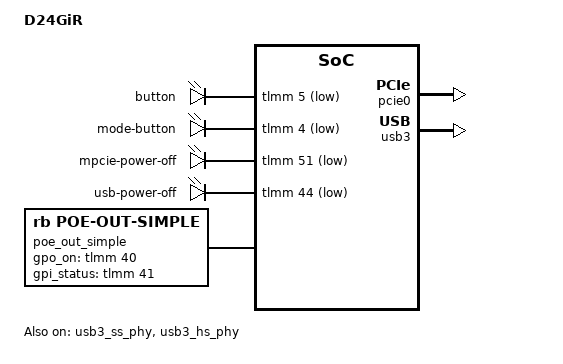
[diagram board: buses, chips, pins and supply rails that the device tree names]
/dts-v1/;
#define BIG_DK
#define NAND
#include "ipq40xx.dtsi"

/ {
	model = "D24GiR";

	leds {
		compatible = "leds-rb";
		system-led {
			red {
				gpios = <&tlmm 1 GPIO_ACTIVE_HIGH>;
			};
			green {
				gpios = <&tlmm 3 GPIO_ACTIVE_HIGH>;
			};
			blue {
				gpios = <&tlmm 0 GPIO_ACTIVE_HIGH>;
			};
		};
		button {
			gpios = <&tlmm 5 GPIO_ACTIVE_LOW>;
			default-state = "input";
		};
		mode-button {
			gpios = <&tlmm 4 GPIO_ACTIVE_LOW>;
			default-state = "input";
		};
		mpcie-power-off {
			gpios = <&tlmm 51 GPIO_ACTIVE_LOW>;
		};
		usb-power-off {
			gpios = <&tlmm 44 GPIO_ACTIVE_LOW>;
		};
	};
	poe_out_simple: poe-out-simple {
		compatible = "rb,poe-out-simple";
		eth_port = <1>;
		gpo_on = <&tlmm 40 GPIO_ACTIVE_HIGH>;
		gpi_status = <&tlmm 41 GPIO_ACTIVE_HIGH>;
		status = "ok";
	};
	wlan-data {
		compatible = "wlan-data-rb";
		wlan1 {
			pci-domain-nr = <0>;
			pci-bus-nr = <1>;
			caldata-instance = <1>;
		};
	};
};

&tlmm {
	edma_pins: ema_pinmux {
		mux {
			pins = "gpio6", "gpio7";
			function = "mdio";
			bias-disable;
		};
	};
};

&edma {
	port_map = <4 3 (-1)>;
	pinctrl-0 = <&edma_pins>;
	pinctrl-names = "default";
};

&pcie0 {
	persts-gpio = <&tlmm 38 GPIO_ACTIVE_LOW>, /* PCIe switch IC */
			<&tlmm 48 GPIO_ACTIVE_HIGH>; /* cascade */
	status = "ok";
};

&usb3 {
	status = "ok";
};

&usb3_ss_phy {
	status = "ok";
};

&usb3_hs_phy {
	status = "ok";
};
